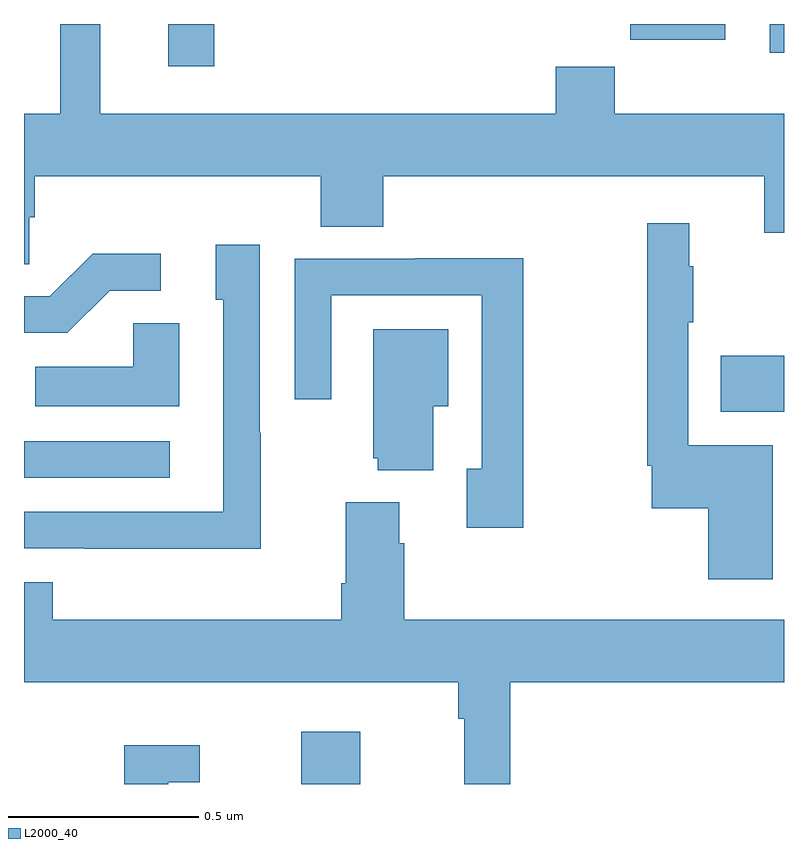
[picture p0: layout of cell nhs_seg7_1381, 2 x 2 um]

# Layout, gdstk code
import gdstk
lib = gdstk.Library(unit=1e-6, precision=1e-09)
def R(c, l, rs):  # rectangles x0, y0, x1, y1
    for r in rs: c.add(gdstk.rectangle(r[:2], r[2:], *l))
def P(c, l, *ps):  # polygons
    for p in ps: c.add(gdstk.Polygon(p, *l))
L2000_40 = (2000, 40)

nhs_seg7_1381 = lib.new_cell('nhs_seg7_1381')
R(nhs_seg7_1381, L2000_40, [(130.73,1015,130.885,1015.138), (130,1015.806,130.384,1015.902), (131.833,1015.979,132,1016.127), (130.379,1016.889,130.501,1017), (131.963,1016.924,132,1017), (131.596,1016.958,131.845,1017)])
P(nhs_seg7_1381, L2000_40, [(130.014,1016.491),(130.028,1016.491),(130.028,1016.6),(130.781,1016.6),(130.781,1016.467),(130.946,1016.467),(130.946,1016.6),(131.948,1016.6),(131.948,1016.451),(132,1016.451),(132,1016.764),(131.555,1016.764),(131.555,1016.888),(131.399,1016.888),(131.399,1016.764),(130.201,1016.764),(130.201,1017),(130.095,1017),(130.095,1016.764),(130,1016.764),(130,1016.368),(130.014,1016.368)],
  [(131.971,1015.891),(131.748,1015.891),(131.748,1016.215),(131.761,1016.215),(131.761,1016.363),(131.75,1016.363),(131.75,1016.476),(131.64,1016.476),(131.64,1015.837),(131.652,1015.837),(131.652,1015.726),(131.801,1015.726),(131.801,1015.539),(131.971,1015.539)],
  [(130.623,1015.925),(130.62,1015.925),(130.62,1016.419),(130.505,1016.419),(130.505,1016.274),(130.524,1016.274),(130.524,1015.716),(130,1015.716),(130,1015.62),(130.159,1015.62),(130.159,1015.619),(130.623,1015.619)],
  [(130.225,1016.298),(130.36,1016.298),(130.36,1016.396),(130.181,1016.396),(130.068,1016.283),(130,1016.283),(130,1016.187),(130.114,1016.187)],
  [(131.314,1016.384),(131.029,1016.384),(131.029,1016.382),(130.713,1016.382),(130.713,1016.013),(130.809,1016.013),(130.809,1016.286),(131.205,1016.286),(131.205,1015.83),(131.165,1015.83),(131.165,1015.674),(131.314,1015.674)],
  [(130.408,1016.213),(130.287,1016.213),(130.287,1016.098),(130.03,1016.098),(130.03,1015.994),(130.408,1015.994)],
  [(131.077,1015.994),(131.116,1015.994),(131.116,1016.197),(130.919,1016.197),(130.919,1015.857),(130.931,1015.857),(130.931,1015.826),(131.077,1015.826)],
  [(131.279,1015.268),(132,1015.268),(132,1015.432),(131,1015.432),(131,1015.634),(130.987,1015.634),(130.987,1015.741),(130.847,1015.741),(130.847,1015.528),(130.835,1015.528),(130.835,1015.432),(130.076,1015.432),(130.076,1015.531),(130,1015.531),(130,1015.268),(131.143,1015.268),(131.143,1015.172),(131.158,1015.172),(131.158,1015),(131.279,1015)],
  [(130.38,1015.005),(130.462,1015.005),(130.462,1015.102),(130.264,1015.102),(130.264,1015),(130.38,1015)])

lib.write_gds('nhs_seg7_1381.gds')
